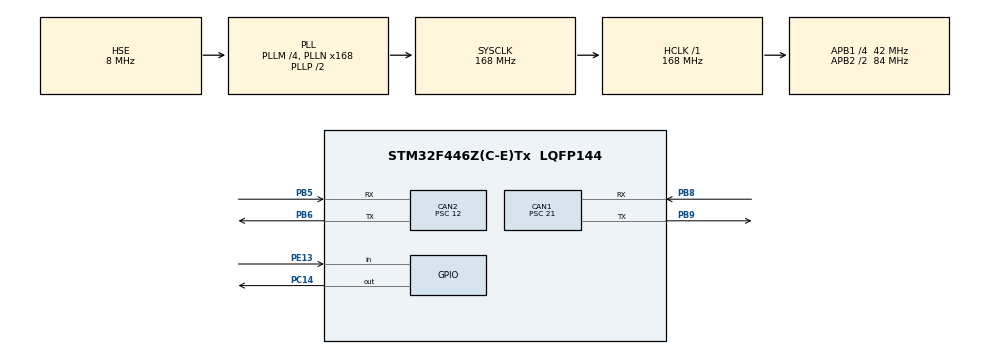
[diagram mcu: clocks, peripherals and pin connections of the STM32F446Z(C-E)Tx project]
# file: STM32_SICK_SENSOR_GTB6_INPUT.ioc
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CAN1.BS1=CAN_BS1_4TQ
CAN1.BS2=CAN_BS2_3TQ
CAN1.CalculateBaudRate=250000
CAN1.CalculateTimeBit=4000
CAN1.CalculateTimeQuantum=500.0
CAN1.Prescaler=21
CAN2.BS1=CAN_BS1_11TQ
CAN2.BS2=CAN_BS2_2TQ
CAN2.CalculateBaudRate=250000
CAN2.CalculateTimeBit=4000
CAN2.CalculateTimeQuantum=285.7142857142857
CAN2.Prescaler=12
Mcu.Family=STM32F4
Mcu.Name=STM32F446Z(C-E)Tx
Mcu.Package=LQFP144
NVIC.PriorityGroup=NVIC_PRIORITYGROUP_4
PA13.Mode=Serial_Wire
PA13.Signal=SYS_JTMS-SWDIO
PA14.Mode=Serial_Wire
PA14.Signal=SYS_JTCK-SWCLK
PB5.Mode=CAN_Activate
PB5.Signal=CAN2_RX
PB6.Mode=CAN_Activate
PB6.Signal=CAN2_TX
PB8.Mode=CAN_Activate
PB8.Signal=CAN1_RX
PB9.Mode=CAN_Activate
PB9.Signal=CAN1_TX
PC14-OSC32_IN.Signal=GPIO_Output
PE13.Signal=GPIO_Input
PH0-OSC_IN.Mode=HSE-External-Oscillator
PH0-OSC_IN.Signal=RCC_OSC_IN
PH1-OSC_OUT.Mode=HSE-External-Oscillator
PH1-OSC_OUT.Signal=RCC_OSC_OUT
ProjectManager.HeapSize=0x200
ProjectManager.StackSize=0x400
ProjectManager.TargetToolchain=STM32CubeIDE
RCC.AHBFreq_Value=168000000
RCC.APB1CLKDivider=RCC_HCLK_DIV4
RCC.APB1Freq_Value=42000000
RCC.APB1TimFreq_Value=84000000
RCC.APB2CLKDivider=RCC_HCLK_DIV2
RCC.APB2Freq_Value=84000000
RCC.APB2TimFreq_Value=168000000
RCC.CortexFreq_Value=168000000
RCC.HCLKFreq_Value=168000000
RCC.HSE_VALUE=8000000
RCC.PLLM=4
RCC.PLLN=168
RCC.PLLSourceVirtual=RCC_PLLSOURCE_HSE
RCC.SYSCLKFreq_VALUE=168000000
RCC.SYSCLKSource=RCC_SYSCLKSOURCE_PLLCLK
RCC.USBFreq_Value=168000000
RCC.VCOOutputFreq_Value=336000000
board=custom

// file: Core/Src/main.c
/* USER CODE BEGIN Header */
/**
  **************************
  * @file           : main.c
  * @brief          : Main program body
  **************************
  * @attention
  *
  * Copyright (c) 2024 STMicroelectronics.
  * All rights reserved.
  *
  * This software is licensed under terms that can be found in the LICENSE file
  * in the root directory of this software component.
  * If no LICENSE file comes with this software, it is provided AS-IS.
  *
  **************************
  */
/* USER CODE END Header */
#include "main.h"

CAN_HandleTypeDef hcan1;
CAN_HandleTypeDef hcan2;

void SystemClock_Config(void);
static void MX_GPIO_Init(void);
static void MX_CAN2_Init(void);
static void MX_CAN1_Init(void);

/* USER CODE BEGIN 0 */
CAN_TxHeaderTypeDef TxTransmitter;

uint8_t Giden_Data[8];
uint32_t TxMailbox;

/* USER CODE END 0 */

int main(void)
{

  /* MCU Configuration--------------------------------------------------------*/

  /* Reset of all peripherals, Initializes the Flash interface and the Systick. */
  HAL_Init();

  /* Configure the system clock */
  SystemClock_Config();

  /* Initialize all configured peripherals */
  MX_GPIO_Init();
  MX_CAN2_Init();
  MX_CAN1_Init();
  /* USER CODE BEGIN 2 */
  HAL_CAN_Start(&hcan2);
  HAL_CAN_Start(&hcan1);

  TxTransmitter.StdId = 0x601;
  TxTransmitter.DLC = 8;
  TxTransmitter.IDE = CAN_ID_STD;

  /* USER CODE END 2 */

  /* Infinite loop */
  while (1)
  {

    /* USER CODE BEGIN 3 */

	  Giden_Data[0] = 40;
	  Giden_Data[1] = 01;
	  Giden_Data[2] = 65;
	  Giden_Data[3] = 01;
	  Giden_Data[4] = 00;
	  Giden_Data[5] = 00;
	  Giden_Data[6] = 00;
	  Giden_Data[7] = 00;

	  HAL_CAN_AddTxMessage(&hcan1, &TxTransmitter, Giden_Data, &TxMailbox);

	  if(HAL_GPIO_ReadPin(GPIOE, GPIO_PIN_13) == GPIO_PIN_SET)
	 		  {
	 		       HAL_GPIO_WritePin(GPIOC, GPIO_PIN_14,GPIO_PIN_RESET);

	 			  Giden_Data[0] = 40;
	 			  Giden_Data[1] = 01;
	 			  Giden_Data[2] = 65;
	 			  Giden_Data[3] = 01;
	 			  Giden_Data[4] = 00;
	 			  Giden_Data[5] = 00;
	 			  Giden_Data[6] = 00;
	 			  Giden_Data[7] = 00;
	 			  HAL_CAN_AddTxMessage(&hcan2, &TxTransmitter, Giden_Data, &TxMailbox);

	 	      }
	 	  else{
	 		  HAL_GPIO_WritePin(GPIOC, GPIO_PIN_14,GPIO_PIN_SET);

 			  Giden_Data[0] = 40;
 			  Giden_Data[1] = 01;
 			  Giden_Data[2] = 65;
 			  Giden_Data[3] = 01;
 			  Giden_Data[4] = 02;
 			  Giden_Data[5] = 00;
 			  Giden_Data[6] = 00;
 			  Giden_Data[7] = 00;
 			  HAL_CAN_AddTxMessage(&hcan2, &TxTransmitter, Giden_Data, &TxMailbox);
	 	  }

  }
  /* USER CODE END 3 */
}

void SystemClock_Config(void)
{
  RCC_OscInitTypeDef RCC_OscInitStruct = {0};
  RCC_ClkInitTypeDef RCC_ClkInitStruct = {0};

  /** Configure the main internal regulator output voltage
  */
  __HAL_RCC_PWR_CLK_ENABLE();
  __HAL_PWR_VOLTAGESCALING_CONFIG(PWR_REGULATOR_VOLTAGE_SCALE1);

  /** Initializes the RCC Oscillators according to the specified parameters
  * in the RCC_OscInitTypeDef structure.
  */
  RCC_OscInitStruct.OscillatorType = RCC_OSCILLATORTYPE_HSE;
  RCC_OscInitStruct.HSEState = RCC_HSE_ON;
  RCC_OscInitStruct.PLL.PLLState = RCC_PLL_ON;
  RCC_OscInitStruct.PLL.PLLSource = RCC_PLLSOURCE_HSE;
  RCC_OscInitStruct.PLL.PLLM = 4;
  RCC_OscInitStruct.PLL.PLLN = 168;
  RCC_OscInitStruct.PLL.PLLP = RCC_PLLP_DIV2;
  RCC_OscInitStruct.PLL.PLLQ = 2;
  RCC_OscInitStruct.PLL.PLLR = 2;
  if (HAL_RCC_OscConfig(&RCC_OscInitStruct) != HAL_OK)
  {
    Error_Handler();
  }

  /** Initializes the CPU, AHB and APB buses clocks
  */
  RCC_ClkInitStruct.ClockType = RCC_CLOCKTYPE_HCLK|RCC_CLOCKTYPE_SYSCLK
                              |RCC_CLOCKTYPE_PCLK1|RCC_CLOCKTYPE_PCLK2;
  RCC_ClkInitStruct.SYSCLKSource = RCC_SYSCLKSOURCE_PLLCLK;
  RCC_ClkInitStruct.AHBCLKDivider = RCC_SYSCLK_DIV1;
  RCC_ClkInitStruct.APB1CLKDivider = RCC_HCLK_DIV4;
  RCC_ClkInitStruct.APB2CLKDivider = RCC_HCLK_DIV2;

  if (HAL_RCC_ClockConfig(&RCC_ClkInitStruct, FLASH_LATENCY_5) != HAL_OK)
  {
    Error_Handler();
  }
}

static void MX_CAN1_Init(void)
{

  hcan1.Instance = CAN1;
  hcan1.Init.Prescaler = 21;
  hcan1.Init.Mode = CAN_MODE_NORMAL;
  hcan1.Init.SyncJumpWidth = CAN_SJW_1TQ;
  hcan1.Init.TimeSeg1 = CAN_BS1_4TQ;
  hcan1.Init.TimeSeg2 = CAN_BS2_3TQ;
  hcan1.Init.TimeTriggeredMode = DISABLE;
  hcan1.Init.AutoBusOff = DISABLE;
  hcan1.Init.AutoWakeUp = DISABLE;
  hcan1.Init.AutoRetransmission = DISABLE;
  hcan1.Init.ReceiveFifoLocked = DISABLE;
  hcan1.Init.TransmitFifoPriority = DISABLE;
  if (HAL_CAN_Init(&hcan1) != HAL_OK)
  {
    Error_Handler();
  }

}

static void MX_CAN2_Init(void)
{

  hcan2.Instance = CAN2;
  hcan2.Init.Prescaler = 12;
  hcan2.Init.Mode = CAN_MODE_NORMAL;
  hcan2.Init.SyncJumpWidth = CAN_SJW_1TQ;
  hcan2.Init.TimeSeg1 = CAN_BS1_11TQ;
  hcan2.Init.TimeSeg2 = CAN_BS2_2TQ;
  hcan2.Init.TimeTriggeredMode = DISABLE;
  hcan2.Init.AutoBusOff = DISABLE;
  hcan2.Init.AutoWakeUp = DISABLE;
  hcan2.Init.AutoRetransmission = DISABLE;
  hcan2.Init.ReceiveFifoLocked = DISABLE;
  hcan2.Init.TransmitFifoPriority = DISABLE;
  if (HAL_CAN_Init(&hcan2) != HAL_OK)
  {
    Error_Handler();
  }
  /* USER CODE BEGIN CAN2_Init 2 */
  CAN_FilterTypeDef can_filter_yapi;

  can_filter_yapi.FilterActivation = CAN_FILTER_ENABLE;
  can_filter_yapi.FilterBank = 0;
  can_filter_yapi.FilterFIFOAssignment = CAN_FILTER_FIFO0;
  can_filter_yapi.FilterIdHigh = 0x0000;
  can_filter_yapi.FilterIdLow = 0x0000;
  can_filter_yapi.FilterMaskIdHigh = 0x0000;
  can_filter_yapi.FilterMaskIdLow = 0x0000;
  can_filter_yapi.FilterMode = CAN_FILTERMODE_IDMASK;
  can_filter_yapi.FilterScale = CAN_FILTERSCALE_16BIT;
  can_filter_yapi.SlaveStartFilterBank = 0;
  /* USER CODE END CAN2_Init 2 */

}

static void MX_GPIO_Init(void)
{
  GPIO_InitTypeDef GPIO_InitStruct = {0};

  /* GPIO Ports Clock Enable */
  __HAL_RCC_GPIOC_CLK_ENABLE();
  __HAL_RCC_GPIOH_CLK_ENABLE();
  __HAL_RCC_GPIOE_CLK_ENABLE();
  __HAL_RCC_GPIOA_CLK_ENABLE();
  __HAL_RCC_GPIOB_CLK_ENABLE();

  /*Configure GPIO pin Output Level */
  HAL_GPIO_WritePin(GPIOC, GPIO_PIN_14, GPIO_PIN_RESET);

  /*Configure GPIO pin : PC14 */
  GPIO_InitStruct.Pin = GPIO_PIN_14;
  GPIO_InitStruct.Mode = GPIO_MODE_OUTPUT_PP;
  GPIO_InitStruct.Pull = GPIO_NOPULL;
  GPIO_InitStruct.Speed = GPIO_SPEED_FREQ_LOW;
  HAL_GPIO_Init(GPIOC, &GPIO_InitStruct);

  /*Configure GPIO pin : PE13 */
  GPIO_InitStruct.Pin = GPIO_PIN_13;
  GPIO_InitStruct.Mode = GPIO_MODE_INPUT;
  GPIO_InitStruct.Pull = GPIO_NOPULL;
  HAL_GPIO_Init(GPIOE, &GPIO_InitStruct);

}

void Error_Handler(void)
{
  __disable_irq();
  while (1)
  {
  }
}
